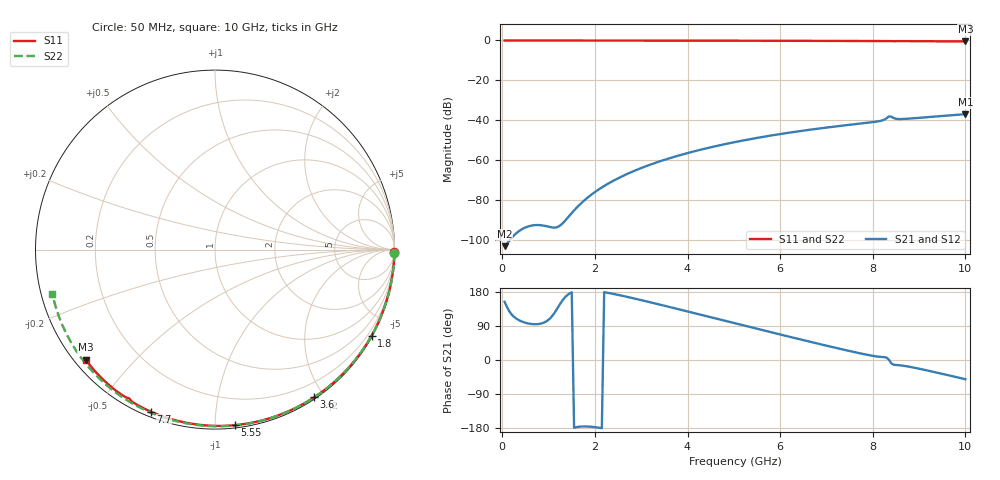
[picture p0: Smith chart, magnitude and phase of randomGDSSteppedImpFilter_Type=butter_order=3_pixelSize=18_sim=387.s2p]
! freq	dB(S11)	phase(S11)	dB(S12)	phase(S12)
!  dB(S21)	phase(S21)	dB(S22)	phase(S22)
!S-par simulation data
#  GHz  S  DB  R 50
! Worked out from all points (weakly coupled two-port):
!   200 points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, 50 MHz to 10 GHz, reference 50 ohm
!   highest |S21| = -36.93 dB at 10 GHz (marker M1); lowest = -103.1 dB at 50 MHz (marker M2)
!   lowest |S11| = -0.5 dB at 10 GHz (marker M3), VSWR 36.37, Z = 1.56 - j18.4 ohm
!   |S11| at or under -10 dB: nowhere
!   |S22| runs from -0.5 to 0.0 dB; largest |S21 - S12| = 0
!   S11 on the Smith chart (normalised r, x): 50 MHz: open; 1.8 GHz: 0.03, -3.90; 3.6 GHz: 0.02, -1.88; 5.55 GHz: 0.02, -1.12; 7.7 GHz: 0.02, -0.68; 10 GHz: 0.03, -0.37
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0.05  -0.00 -0.8  -103.07 153.7  -103.07 153.7  -0.00 -1.0
0.85  -0.02 -13.7  -92.62 96.6  -92.62 96.6  -0.02 -16.2
1.75  -0.04 -28.0  -80.56 -175.3  -80.56 -175.3  -0.04 -32.9
1.8  -0.04 -28.7  -79.55 -175.3  -79.55 -175.3  -0.04 -33.8
2.1  -0.04 -33.4  -74.38 -178.9  -74.38 -178.9  -0.05 -39.3
2.45  -0.05 -38.8  -69.65 173.2  -69.65 173.2  -0.06 -45.6
2.9  -0.06 -45.7  -64.85 160.9  -64.85 160.9  -0.07 -53.6
3.4  -0.07 -53.1  -60.58 146.2  -60.58 146.2  -0.08 -62.3
3.6  -0.08 -56.1  -59.09 140.2  -59.09 140.2  -0.09 -65.7
4.3  -0.09 -66.2  -54.63 119.0  -54.63 119.0  -0.11 -77.5
5.05  -0.12 -76.8  -50.79 96.1  -50.79 96.1  -0.14 -89.7
5.55  -0.14 -83.6  -48.62 80.9  -48.62 80.9  -0.16 -97.6
6.7  -0.19 -98.8  -44.55 46.6  -44.55 46.6  -0.23 -115.2
7.7  -0.25 -111.5  -41.72 18.2  -41.72 18.2  -0.30 -130.2
8.2  -0.30 -117.9  -40.10 7.9  -40.10 7.9  -0.35 -137.6
8.25  -0.31 -118.6  -39.67 7.5  -39.67 7.5  -0.35 -138.3
8.35  -0.37 -119.8  -38.05 0.4  -38.05 0.4  -0.36 -139.7
8.4  -0.38 -120.1  -38.19 -8.9  -38.19 -8.9  -0.36 -140.5
8.5  -0.35 -121.2  -39.23 -13.2  -39.23 -13.2  -0.37 -142.0
8.6  -0.34 -122.5  -39.39 -14.2  -39.39 -14.2  -0.38 -143.5
9.3  -0.40 -131.1  -38.20 -31.0  -38.20 -31.0  -0.46 -154.0
10  -0.48 -139.6  -36.93 -50.7  -36.93 -50.7  -0.55 -164.7
